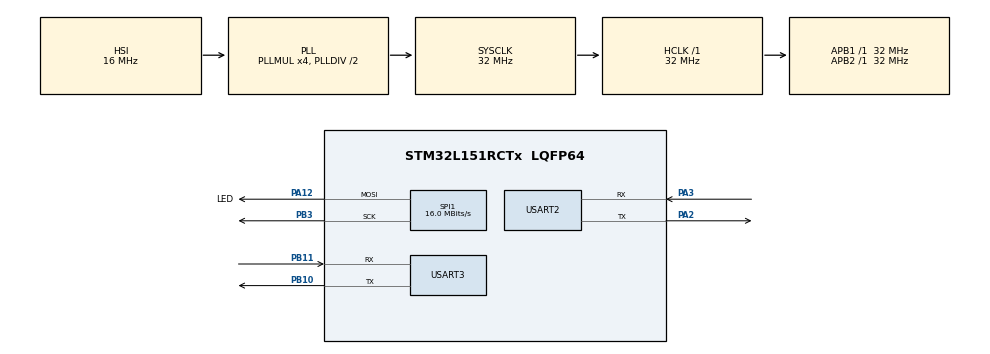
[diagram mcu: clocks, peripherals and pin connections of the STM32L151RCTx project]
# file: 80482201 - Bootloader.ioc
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Dma.Request0=USART3_RX
Dma.Request1=USART2_RX
Dma.USART2_RX.1.Direction=DMA_PERIPH_TO_MEMORY
Dma.USART2_RX.1.Instance=DMA1_Channel6
Dma.USART2_RX.1.MemDataAlignment=DMA_MDATAALIGN_BYTE
Dma.USART2_RX.1.MemInc=DMA_MINC_ENABLE
Dma.USART2_RX.1.Mode=DMA_CIRCULAR
Dma.USART2_RX.1.PeriphDataAlignment=DMA_PDATAALIGN_BYTE
Dma.USART2_RX.1.PeriphInc=DMA_PINC_DISABLE
Dma.USART2_RX.1.Priority=DMA_PRIORITY_LOW
Dma.USART3_RX.0.Direction=DMA_PERIPH_TO_MEMORY
Dma.USART3_RX.0.Instance=DMA1_Channel3
Dma.USART3_RX.0.MemDataAlignment=DMA_MDATAALIGN_BYTE
Dma.USART3_RX.0.MemInc=DMA_MINC_ENABLE
Dma.USART3_RX.0.Mode=DMA_CIRCULAR
Dma.USART3_RX.0.PeriphDataAlignment=DMA_PDATAALIGN_BYTE
Dma.USART3_RX.0.PeriphInc=DMA_PINC_DISABLE
Dma.USART3_RX.0.Priority=DMA_PRIORITY_LOW
IWDG.Prescaler=IWDG_PRESCALER_256
IWDG.Reload=1250
Mcu.Family=STM32L1
Mcu.Name=STM32L151RCTx
Mcu.Package=LQFP64
NVIC.DMA1_Channel3_IRQn=true\:0\:0\:false\:false\:true\:false\:true\:true
NVIC.DMA1_Channel6_IRQn=true\:0\:0\:false\:false\:true\:false\:true\:true
NVIC.PriorityGroup=NVIC_PRIORITYGROUP_4
NVIC.SPI1_IRQn=true\:0\:0\:false\:false\:true\:true\:true\:true
NVIC.USART2_IRQn=true\:0\:0\:false\:false\:true\:true\:true\:true
NVIC.USART3_IRQn=true\:0\:0\:false\:false\:true\:true\:true\:true
PA12.GPIO_Label=LED
PA12.Mode=TX_Only_Simplex_Unidirect_Master
PA12.Signal=SPI1_MOSI
PA13.Mode=Serial_Wire
PA13.Signal=SYS_JTMS-SWDIO
PA14.Mode=Serial_Wire
PA14.Signal=SYS_JTCK-SWCLK
PA2.Mode=Asynchronous
PA2.Signal=USART2_TX
PA3.Mode=Asynchronous
PA3.Signal=USART2_RX
PB10.Mode=Asynchronous
PB10.Signal=USART3_TX
PB11.Mode=Asynchronous
PB11.Signal=USART3_RX
PB3.Mode=TX_Only_Simplex_Unidirect_Master
PB3.Signal=SPI1_SCK
ProjectManager.HeapSize=0x200
ProjectManager.StackSize=0x400
ProjectManager.TargetToolchain=STM32CubeIDE
RCC.48MHZClocksFreq_Value=32000000
RCC.AHBFreq_Value=32000000
RCC.APB1Freq_Value=32000000
RCC.APB1TimFreq_Value=32000000
RCC.APB2Freq_Value=32000000
RCC.APB2TimFreq_Value=32000000
RCC.HCLKFreq_Value=32000000
RCC.HSE_VALUE=24000000
RCC.HSI_VALUE=16000000
RCC.LSE_VALUE=32768
RCC.MSI_VALUE=2097000
RCC.PLLMUL=RCC_PLL_MUL4
RCC.SYSCLKFreq_VALUE=32000000
RCC.SYSCLKSource=RCC_SYSCLKSOURCE_PLLCLK
RCC.VCOOutputFreq_Value=64000000
SPI1.CLKPhase=SPI_PHASE_2EDGE
SPI1.CalculateBaudRate=16.0 MBits/s
SPI1.Direction=SPI_DIRECTION_2LINES
SPI1.Mode=SPI_MODE_MASTER
SPI1.VirtualType=VM_MASTER
USART2.VirtualMode=VM_ASYNC
USART3.VirtualMode=VM_ASYNC
VP_IWDG_VS_IWDG.Mode=IWDG_Activate
board=custom

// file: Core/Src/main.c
/* USER CODE BEGIN Header */
/**
  ******************************************************************************
  * @file           : main.c
  * @brief          : Main program body
  ******************************************************************************
  * @attention
  *
  * Copyright (c) 2022 STMicroelectronics.
  * All rights reserved.
  *
  * This software is licensed under terms that can be found in the LICENSE file
  * in the root directory of this software component.
  * If no LICENSE file comes with this software, it is provided AS-IS.
  *
  ******************************************************************************
  */
/* USER CODE END Header */
#include "main.h"
#include "dma.h"
#include "iwdg.h"
#include "spi.h"
#include "usart.h"
#include "gpio.h"

/* USER CODE BEGIN Includes */
#include "flash.h"
#include "defines.h"
#include "serial.h"
#include "work.h"
#include "led.h"
/* USER CODE END Includes */

/* USER CODE BEGIN PV */
enuStatus BootloaderStatus;
uint16_t CurrentBlock;

/* USER CODE END PV */

void SystemClock_Config(void);

int main(void)
{
  /* USER CODE BEGIN 1 */
  Initialized = 0;
  /* USER CODE END 1 */

  /* MCU Configuration--------------------------------------------------------*/

  /* Reset of all peripherals, Initializes the Flash interface and the Systick. */
  HAL_Init();

  /* Configure the system clock */
  SystemClock_Config();

  /* Initialize all configured peripherals */
  MX_GPIO_Init();
  MX_DMA_Init();
  MX_USART3_UART_Init();
  MX_USART2_UART_Init();
  MX_SPI1_Init();
  MX_IWDG_Init();
  /* USER CODE BEGIN 2 */
  SER_Init();
  FLA_Init();
  LED_Init();
  Initialized = 1;

  WRK_Handle();
  /* USER CODE END 2 */

  /* Infinite loop */
  /* USER CODE BEGIN WHILE */
  while (1)
  {
	  HAL_IWDG_Refresh(&hiwdg);
	  if (Flg1ms == 1)
	  	{
	  		Flg1ms = 0;
	  		WRK_HandleTickTime();
	  	}

    /* USER CODE END WHILE */

  }
}

void SystemClock_Config(void)
{
  RCC_OscInitTypeDef RCC_OscInitStruct = {0};
  RCC_ClkInitTypeDef RCC_ClkInitStruct = {0};

  /** Configure the main internal regulator output voltage
  */
  __HAL_PWR_VOLTAGESCALING_CONFIG(PWR_REGULATOR_VOLTAGE_SCALE1);

  /** Initializes the RCC Oscillators according to the specified parameters
  * in the RCC_OscInitTypeDef structure.
  */
  RCC_OscInitStruct.OscillatorType = RCC_OSCILLATORTYPE_HSI|RCC_OSCILLATORTYPE_LSI;
  RCC_OscInitStruct.HSIState = RCC_HSI_ON;
  RCC_OscInitStruct.HSICalibrationValue = RCC_HSICALIBRATION_DEFAULT;
  RCC_OscInitStruct.LSIState = RCC_LSI_ON;
  RCC_OscInitStruct.PLL.PLLState = RCC_PLL_ON;
  RCC_OscInitStruct.PLL.PLLSource = RCC_PLLSOURCE_HSI;
  RCC_OscInitStruct.PLL.PLLMUL = RCC_PLL_MUL4;
  RCC_OscInitStruct.PLL.PLLDIV = RCC_PLL_DIV2;
  if (HAL_RCC_OscConfig(&RCC_OscInitStruct) != HAL_OK)
  {
    Error_Handler();
  }

  /** Initializes the CPU, AHB and APB buses clocks
  */
  RCC_ClkInitStruct.ClockType = RCC_CLOCKTYPE_HCLK|RCC_CLOCKTYPE_SYSCLK
                              |RCC_CLOCKTYPE_PCLK1|RCC_CLOCKTYPE_PCLK2;
  RCC_ClkInitStruct.SYSCLKSource = RCC_SYSCLKSOURCE_PLLCLK;
  RCC_ClkInitStruct.AHBCLKDivider = RCC_SYSCLK_DIV1;
  RCC_ClkInitStruct.APB1CLKDivider = RCC_HCLK_DIV1;
  RCC_ClkInitStruct.APB2CLKDivider = RCC_HCLK_DIV1;

  if (HAL_RCC_ClockConfig(&RCC_ClkInitStruct, FLASH_LATENCY_1) != HAL_OK)
  {
    Error_Handler();
  }
}

void Error_Handler(void)
{
  __disable_irq();
  while (1)
  {
  }
}
